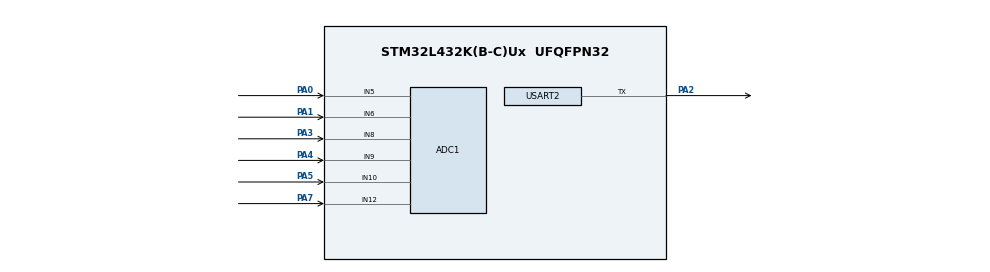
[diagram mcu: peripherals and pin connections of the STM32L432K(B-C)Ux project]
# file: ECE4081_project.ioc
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ADC1.Channel-0\#ChannelRegularConversion=ADC_CHANNEL_5
ADC1.Channel-1\#ChannelRegularConversion=ADC_CHANNEL_6
ADC1.Channel-2\#ChannelRegularConversion=ADC_CHANNEL_8
ADC1.Channel-3\#ChannelRegularConversion=ADC_CHANNEL_9
ADC1.Channel-4\#ChannelRegularConversion=ADC_CHANNEL_10
ADC1.Channel-5\#ChannelRegularConversion=ADC_CHANNEL_12
ADC1.NbrOfConversionFlag=6
ADC1.OffsetNumber-0\#ChannelRegularConversion=ADC_OFFSET_NONE
ADC1.OffsetNumber-1\#ChannelRegularConversion=ADC_OFFSET_NONE
ADC1.OffsetNumber-2\#ChannelRegularConversion=ADC_OFFSET_NONE
ADC1.OffsetNumber-3\#ChannelRegularConversion=ADC_OFFSET_NONE
ADC1.OffsetNumber-4\#ChannelRegularConversion=ADC_OFFSET_NONE
ADC1.OffsetNumber-5\#ChannelRegularConversion=ADC_OFFSET_NONE
ADC1.Rank-0\#ChannelRegularConversion=1
ADC1.Rank-1\#ChannelRegularConversion=2
ADC1.Rank-2\#ChannelRegularConversion=3
ADC1.Rank-3\#ChannelRegularConversion=4
ADC1.Rank-4\#ChannelRegularConversion=5
ADC1.Rank-5\#ChannelRegularConversion=6
ADC1.SamplingTime-0\#ChannelRegularConversion=ADC_SAMPLETIME_12CYCLES_5
ADC1.SamplingTime-1\#ChannelRegularConversion=ADC_SAMPLETIME_12CYCLES_5
ADC1.SamplingTime-2\#ChannelRegularConversion=ADC_SAMPLETIME_12CYCLES_5
ADC1.SamplingTime-3\#ChannelRegularConversion=ADC_SAMPLETIME_12CYCLES_5
ADC1.SamplingTime-4\#ChannelRegularConversion=ADC_SAMPLETIME_12CYCLES_5
ADC1.SamplingTime-5\#ChannelRegularConversion=ADC_SAMPLETIME_12CYCLES_5
ADC1.master=1
Mcu.Family=STM32L4
Mcu.Name=STM32L432K(B-C)Ux
Mcu.Package=UFQFPN32
NVIC.PriorityGroup=NVIC_PRIORITYGROUP_4
NVIC.TIM6_DAC_IRQn=true\:0\:0\:false\:false\:true\:true\:true\:true
PA0.Signal=ADCx_IN5
PA1.Signal=ADCx_IN6
PA13\ (JTMS-SWDIO).Mode=Serial_Wire
PA13\ (JTMS-SWDIO).Signal=SYS_JTMS-SWDIO
PA14\ (JTCK-SWCLK).Mode=Serial_Wire
PA14\ (JTCK-SWCLK).Signal=SYS_JTCK-SWCLK
PA2.Mode=Asynchronous
PA2.Signal=USART2_TX
PA3.Signal=ADCx_IN8
PA4.Signal=ADCx_IN9
PA5.Signal=ADCx_IN10
PA7.Signal=ADCx_IN12
ProjectManager.HeapSize=0x200
ProjectManager.StackSize=0x400
ProjectManager.TargetToolchain=STM32CubeIDE
RCC.ADCFreq_Value=32000000
RCC.HSE_VALUE=8000000
RCC.HSI48_VALUE=48000000
RCC.HSI_VALUE=16000000
RCC.LSE_VALUE=32768
RCC.MSI_VALUE=4000000
RCC.PLLSAI1N=16
RCC.USBFreq_Value=32000000
RCC.VCOOutputFreq_Value=32000000
SH.ADCx_IN5.0=ADC1_IN5,IN5-Single-Ended
SH.ADCx_IN6.0=ADC1_IN6,IN6-Single-Ended
SH.ADCx_IN8.0=ADC1_IN8,IN8-Single-Ended
SH.ADCx_IN9.0=ADC1_IN9,IN9-Single-Ended
SH.ADCx_IN10.0=ADC1_IN10,IN10-Single-Ended
SH.ADCx_IN12.0=ADC1_IN12,IN12-Single-Ended
TIM6.Period=999
TIM6.Prescaler=3
USART2.BaudRate=460800
USART2.VirtualMode-Asynchronous=VM_ASYNC
VP_TIM6_VS_ClockSourceINT.Mode=Enable_Timer
board=custom

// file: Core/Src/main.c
/* USER CODE BEGIN Header */
/**
  ******************************************************************************
  * @file           : main.c
  * @brief          : Main program body
  ******************************************************************************
  * @attention
  *
  * Copyright (c) 2026 STMicroelectronics.
  * All rights reserved.
  *
  * This software is licensed under terms that can be found in the LICENSE file
  * in the root directory of this software component.
  * If no LICENSE file comes with this software, it is provided AS-IS.
  *
  ******************************************************************************
  */
/* USER CODE END Header */
#include "main.h"
#include <stdio.h>

/* USER CODE BEGIN PTD */
typedef struct
{
    uint16_t channel[6];
} SampleFrame;

/* USER CODE END PTD */

/* USER CODE BEGIN PD */
#define ADC_CHANNEL_COUNT 6U

/* USER CODE END PD */

ADC_HandleTypeDef hadc1;

TIM_HandleTypeDef htim6;

UART_HandleTypeDef huart2;

/* USER CODE BEGIN PV */
#define SAMPLE_BUFFER_SIZE 256

volatile SampleFrame sample_buffer[SAMPLE_BUFFER_SIZE];

volatile uint16_t write_index = 0;
volatile uint16_t read_index = 0;

volatile uint32_t dropped_samples = 0;

char msg[64];
/* USER CODE END PV */

void SystemClock_Config(void);
static void MX_GPIO_Init(void);
static void MX_ADC1_Init(void);
static void MX_USART2_UART_Init(void);
static void MX_TIM6_Init(void);

int main(void)
{

  /* MCU Configuration--------------------------------------------------------*/

  /* Reset of all peripherals, Initializes the Flash interface and the Systick. */
  HAL_Init();

  /* Configure the system clock */
  SystemClock_Config();

  /* Initialize all configured peripherals */
  MX_GPIO_Init();
  MX_ADC1_Init();
  MX_USART2_UART_Init();
  MX_TIM6_Init();
  /* USER CODE BEGIN 2 */
  HAL_ADCEx_Calibration_Start(
      &hadc1,
      ADC_SINGLE_ENDED
  );

  HAL_TIM_Base_Start_IT(
      &htim6
  );
  /* USER CODE END 2 */

  /* Infinite loop */
  while (1)
  {
	  if (read_index != write_index)
	      {
	          SampleFrame frame =
	              sample_buffer[read_index];

	          read_index =
	              (read_index + 1)
	              % SAMPLE_BUFFER_SIZE;

	          int len = snprintf(
	              msg,
	              sizeof(msg),
	              "%u,%u,%u,%u,%u,%u\r\n",
	              frame.channel[0],
	              frame.channel[1],
	              frame.channel[2],
	              frame.channel[3],
	              frame.channel[4],
	              frame.channel[5]
	          );

	          HAL_UART_Transmit(
	              &huart2,
	              (uint8_t *)msg,
	              len,
	              10
	          );
	      }
  }
}

void SystemClock_Config(void)
{
  RCC_OscInitTypeDef RCC_OscInitStruct = {0};
  RCC_ClkInitTypeDef RCC_ClkInitStruct = {0};

  /** Configure the main internal regulator output voltage
  */
  if (HAL_PWREx_ControlVoltageScaling(PWR_REGULATOR_VOLTAGE_SCALE1) != HAL_OK)
  {
    Error_Handler();
  }

  /** Initializes the RCC Oscillators according to the specified parameters
  * in the RCC_OscInitTypeDef structure.
  */
  RCC_OscInitStruct.OscillatorType = RCC_OSCILLATORTYPE_MSI;
  RCC_OscInitStruct.MSIState = RCC_MSI_ON;
  RCC_OscInitStruct.MSICalibrationValue = 0;
  RCC_OscInitStruct.MSIClockRange = RCC_MSIRANGE_6;
  RCC_OscInitStruct.PLL.PLLState = RCC_PLL_NONE;
  if (HAL_RCC_OscConfig(&RCC_OscInitStruct) != HAL_OK)
  {
    Error_Handler();
  }

  /** Initializes the CPU, AHB and APB buses clocks
  */
  RCC_ClkInitStruct.ClockType = RCC_CLOCKTYPE_HCLK|RCC_CLOCKTYPE_SYSCLK
                              |RCC_CLOCKTYPE_PCLK1|RCC_CLOCKTYPE_PCLK2;
  RCC_ClkInitStruct.SYSCLKSource = RCC_SYSCLKSOURCE_MSI;
  RCC_ClkInitStruct.AHBCLKDivider = RCC_SYSCLK_DIV1;
  RCC_ClkInitStruct.APB1CLKDivider = RCC_HCLK_DIV1;
  RCC_ClkInitStruct.APB2CLKDivider = RCC_HCLK_DIV1;

  if (HAL_RCC_ClockConfig(&RCC_ClkInitStruct, FLASH_LATENCY_0) != HAL_OK)
  {
    Error_Handler();
  }
}

static void MX_ADC1_Init(void)
{

  ADC_ChannelConfTypeDef sConfig = {0};

  /** Common config
  */
  hadc1.Instance = ADC1;
  hadc1.Init.ClockPrescaler = ADC_CLOCK_ASYNC_DIV1;
  hadc1.Init.Resolution = ADC_RESOLUTION_12B;
  hadc1.Init.DataAlign = ADC_DATAALIGN_RIGHT;
  hadc1.Init.ScanConvMode = ADC_SCAN_ENABLE;
  hadc1.Init.EOCSelection = ADC_EOC_SINGLE_CONV;
  hadc1.Init.LowPowerAutoWait = DISABLE;
  hadc1.Init.ContinuousConvMode = DISABLE;
  hadc1.Init.NbrOfConversion = ADC_CHANNEL_COUNT;
  hadc1.Init.DiscontinuousConvMode = DISABLE;
  hadc1.Init.ExternalTrigConv = ADC_SOFTWARE_START;
  hadc1.Init.ExternalTrigConvEdge = ADC_EXTERNALTRIGCONVEDGE_NONE;
  hadc1.Init.DMAContinuousRequests = DISABLE;
  hadc1.Init.Overrun = ADC_OVR_DATA_PRESERVED;
  hadc1.Init.OversamplingMode = DISABLE;
  if (HAL_ADC_Init(&hadc1) != HAL_OK)
  {
    Error_Handler();
  }

  /** Configure Regular Channel
  */
  sConfig.Channel = ADC_CHANNEL_5;
  sConfig.Rank = ADC_REGULAR_RANK_1;
  sConfig.SamplingTime = ADC_SAMPLETIME_12CYCLES_5;
  sConfig.SingleDiff = ADC_SINGLE_ENDED;
  sConfig.OffsetNumber = ADC_OFFSET_NONE;
  sConfig.Offset = 0;
  if (HAL_ADC_ConfigChannel(&hadc1, &sConfig) != HAL_OK)
  {
    Error_Handler();
  }

  sConfig.Channel = ADC_CHANNEL_6;
  sConfig.Rank = ADC_REGULAR_RANK_2;
  if (HAL_ADC_ConfigChannel(&hadc1, &sConfig) != HAL_OK)
  {
    Error_Handler();
  }

  sConfig.Channel = ADC_CHANNEL_8;
  sConfig.Rank = ADC_REGULAR_RANK_3;
  if (HAL_ADC_ConfigChannel(&hadc1, &sConfig) != HAL_OK)
  {
    Error_Handler();
  }

  sConfig.Channel = ADC_CHANNEL_9;
  sConfig.Rank = ADC_REGULAR_RANK_4;
  if (HAL_ADC_ConfigChannel(&hadc1, &sConfig) != HAL_OK)
  {
    Error_Handler();
  }

  sConfig.Channel = ADC_CHANNEL_10;
  sConfig.Rank = ADC_REGULAR_RANK_5;
  if (HAL_ADC_ConfigChannel(&hadc1, &sConfig) != HAL_OK)
  {
    Error_Handler();
  }

  sConfig.Channel = ADC_CHANNEL_12;
  sConfig.Rank = ADC_REGULAR_RANK_6;
  if (HAL_ADC_ConfigChannel(&hadc1, &sConfig) != HAL_OK)
  {
    Error_Handler();
  }

}

static void MX_TIM6_Init(void)
{

  TIM_MasterConfigTypeDef sMasterConfig = {0};

  htim6.Instance = TIM6;
  htim6.Init.Prescaler = 3;
  htim6.Init.CounterMode = TIM_COUNTERMODE_UP;
  htim6.Init.Period = 999;
  htim6.Init.AutoReloadPreload = TIM_AUTORELOAD_PRELOAD_DISABLE;
  if (HAL_TIM_Base_Init(&htim6) != HAL_OK)
  {
    Error_Handler();
  }
  sMasterConfig.MasterOutputTrigger = TIM_TRGO_RESET;
  sMasterConfig.MasterSlaveMode = TIM_MASTERSLAVEMODE_DISABLE;
  if (HAL_TIMEx_MasterConfigSynchronization(&htim6, &sMasterConfig) != HAL_OK)
  {
    Error_Handler();
  }

}

static void MX_USART2_UART_Init(void)
{

  huart2.Instance = USART2;
  huart2.Init.BaudRate = 460800;
  huart2.Init.WordLength = UART_WORDLENGTH_8B;
  huart2.Init.StopBits = UART_STOPBITS_1;
  huart2.Init.Parity = UART_PARITY_NONE;
  huart2.Init.Mode = UART_MODE_TX;
  huart2.Init.HwFlowCtl = UART_HWCONTROL_NONE;
  huart2.Init.OverSampling = UART_OVERSAMPLING_16;
  huart2.Init.OneBitSampling = UART_ONE_BIT_SAMPLE_DISABLE;
  huart2.AdvancedInit.AdvFeatureInit = UART_ADVFEATURE_NO_INIT;
  if (HAL_UART_Init(&huart2) != HAL_OK)
  {
    Error_Handler();
  }

}

static void MX_GPIO_Init(void)
{

  /* GPIO Ports Clock Enable */
  __HAL_RCC_GPIOA_CLK_ENABLE();

}

/* USER CODE BEGIN 4 */
void HAL_TIM_PeriodElapsedCallback(
    TIM_HandleTypeDef *htim
)
{
    if (htim->Instance == TIM6)
    {
        SampleFrame frame;
        uint8_t conversion_ok = 1U;

        if (HAL_ADC_Start(&hadc1) != HAL_OK)
        {
            conversion_ok = 0U;
        }

        for (uint32_t channel = 0U;
             (channel < ADC_CHANNEL_COUNT) && (conversion_ok != 0U);
             channel++)
        {
            uint32_t timeout = 10000U;

            while ((__HAL_ADC_GET_FLAG(&hadc1, ADC_FLAG_EOC) == 0U)
                   && (timeout > 0U))
            {
                timeout--;
            }

            if (timeout == 0U)
            {
                conversion_ok = 0U;
            }
            else
            {
                frame.channel[channel] =
                    (uint16_t)HAL_ADC_GetValue(&hadc1);
            }
        }

        if (conversion_ok != 0U)
        {
            uint16_t next_index =
                (write_index + 1)
                % SAMPLE_BUFFER_SIZE;

            if (next_index != read_index)
            {
                sample_buffer[write_index] = frame;

                write_index =
                    next_index;
            }
            else
            {
                dropped_samples++;
            }
        }

        HAL_ADC_Stop(&hadc1);
    }
}
/* USER CODE END 4 */

void Error_Handler(void)
{
  __disable_irq();
  while (1)
  {
  }
}
